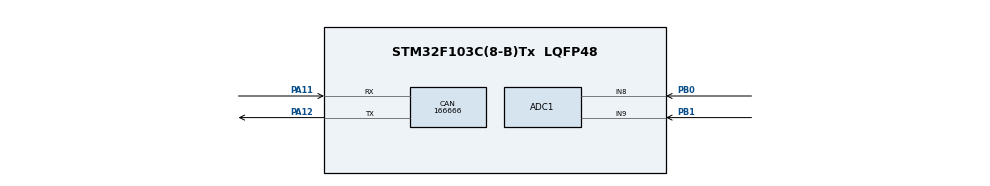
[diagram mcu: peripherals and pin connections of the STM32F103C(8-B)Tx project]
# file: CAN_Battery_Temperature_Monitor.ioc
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ADC1.Channel-0\#ChannelRegularConversion=ADC_CHANNEL_8
ADC1.NbrOfConversionFlag=1
ADC1.Rank-0\#ChannelRegularConversion=1
ADC1.SamplingTime-0\#ChannelRegularConversion=ADC_SAMPLETIME_1CYCLE_5
ADC1.master=1
ADC2.Channel-0\#ChannelRegularConversion=ADC_CHANNEL_9
ADC2.NbrOfConversionFlag=1
ADC2.Rank-0\#ChannelRegularConversion=1
ADC2.SamplingTime-0\#ChannelRegularConversion=ADC_SAMPLETIME_1CYCLE_5
CAN.CalculateBaudRate=166666
CAN.CalculateTimeBit=6000
CAN.CalculateTimeQuantum=2000.0
Mcu.Family=STM32F1
Mcu.Name=STM32F103C(8-B)Tx
Mcu.Package=LQFP48
NVIC.PriorityGroup=NVIC_PRIORITYGROUP_4
PA11.Mode=CAN_Activate
PA11.Signal=CAN_RX
PA12.Mode=CAN_Activate
PA12.Signal=CAN_TX
PB0.Signal=ADCx_IN8
PB1.Signal=ADCx_IN9
ProjectManager.HeapSize=0x200
ProjectManager.StackSize=0x400
ProjectManager.TargetToolchain=STM32CubeIDE
RCC.APB1Freq_Value=8000000
RCC.APB2Freq_Value=8000000
SH.ADCx_IN8.0=ADC1_IN8,IN8
SH.ADCx_IN9.0=ADC1_IN9,IN9
SH.ADCx_IN9.1=ADC2_IN9,IN9
VP_SYS_VS_ND.Mode=No_Debug
board=custom

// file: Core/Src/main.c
/* USER CODE BEGIN Header */
/**
  ******************************************************************************
  * @file           : main.c
  * @brief          : Main program body
  ******************************************************************************
  * @attention
  *
  * Copyright (c) 2026 STMicroelectronics.
  * All rights reserved.
  *
  * This software is licensed under terms that can be found in the LICENSE file
  * in the root directory of this software component.
  * If no LICENSE file comes with this software, it is provided AS-IS.
  *
  ******************************************************************************
  */
/* USER CODE END Header */
#include "main.h"

/* USER CODE BEGIN Includes */
#include <math.h>
/* USER CODE END Includes */

ADC_HandleTypeDef hadc1;
ADC_HandleTypeDef hadc2;

CAN_HandleTypeDef hcan;

/* USER CODE BEGIN PV */
uint32_t adc_value = 0;
float voltage = 0;
CAN_TxHeaderTypeDef TxHeader;
uint8_t TxData[8];
uint32_t TxMailbox;
float resistance = 0;
float temperature_c = 0;

uint32_t adc_temp = 0;
float temp_voltage = 0;
/* USER CODE END PV */

void SystemClock_Config(void);
static void MX_GPIO_Init(void);
static void MX_ADC1_Init(void);
static void MX_CAN_Init(void);
static void MX_ADC2_Init(void);

int main(void)
{

  /* MCU Configuration--------------------------------------------------------*/

  /* Reset of all peripherals, Initializes the Flash interface and the Systick. */
  HAL_Init();

  /* Configure the system clock */
  SystemClock_Config();

  /* Initialize all configured peripherals */
  MX_GPIO_Init();
  MX_ADC1_Init();
  MX_CAN_Init();
  MX_ADC2_Init();
  /* USER CODE BEGIN 2 */
  HAL_CAN_Start(&hcan);

  TxHeader.StdId = 0x100;
  TxHeader.IDE = CAN_ID_STD;
  TxHeader.RTR = CAN_RTR_DATA;
  TxHeader.DLC = 4;
  /* USER CODE END 2 */

  /* Infinite loop */
  while (1)
  {

    /* USER CODE BEGIN 3 */
	  HAL_ADC_Start(&hadc1);

	  HAL_ADC_PollForConversion(&hadc1,100);

	  adc_value = HAL_ADC_GetValue(&hadc1);

	  voltage = (adc_value * 3.3f) / 4095.0f;

	  HAL_ADC_Start(&hadc2);

	  HAL_ADC_PollForConversion(&hadc2,100);

	  adc_temp = HAL_ADC_GetValue(&hadc2);

	  temp_voltage = (adc_temp * 3.3f) / 4095.0f;
	  resistance = 10000.0f * temp_voltage / (3.3f - temp_voltage);
	  temperature_c =
	      (1.0f /
	      ((1.0f / 298.15f) +
	      (1.0f / 3950.0f) *
	      log(resistance / 10000.0f)))
	      - 273.15f;
	  uint16_t voltage_mV = (uint16_t)(voltage * 1000);

	  uint16_t temp_x10 = (uint16_t)(temperature_c * 10);

	  TxData[0] = voltage_mV & 0xFF;
	  TxData[1] = (voltage_mV >> 8) & 0xFF;

	  TxData[2] = temp_x10 & 0xFF;
	  TxData[3] = (temp_x10 >> 8) & 0xFF;

	  HAL_CAN_AddTxMessage(&hcan,
	                       &TxHeader,
	                       TxData,
	                       &TxMailbox);
	  HAL_Delay(100);
  }
  /* USER CODE END 3 */
}

void SystemClock_Config(void)
{
  RCC_OscInitTypeDef RCC_OscInitStruct = {0};
  RCC_ClkInitTypeDef RCC_ClkInitStruct = {0};
  RCC_PeriphCLKInitTypeDef PeriphClkInit = {0};

  /** Initializes the RCC Oscillators according to the specified parameters
  * in the RCC_OscInitTypeDef structure.
  */
  RCC_OscInitStruct.OscillatorType = RCC_OSCILLATORTYPE_HSI;
  RCC_OscInitStruct.HSIState = RCC_HSI_ON;
  RCC_OscInitStruct.HSICalibrationValue = RCC_HSICALIBRATION_DEFAULT;
  RCC_OscInitStruct.PLL.PLLState = RCC_PLL_NONE;
  if (HAL_RCC_OscConfig(&RCC_OscInitStruct) != HAL_OK)
  {
    Error_Handler();
  }

  /** Initializes the CPU, AHB and APB buses clocks
  */
  RCC_ClkInitStruct.ClockType = RCC_CLOCKTYPE_HCLK|RCC_CLOCKTYPE_SYSCLK
                              |RCC_CLOCKTYPE_PCLK1|RCC_CLOCKTYPE_PCLK2;
  RCC_ClkInitStruct.SYSCLKSource = RCC_SYSCLKSOURCE_HSI;
  RCC_ClkInitStruct.AHBCLKDivider = RCC_SYSCLK_DIV1;
  RCC_ClkInitStruct.APB1CLKDivider = RCC_HCLK_DIV1;
  RCC_ClkInitStruct.APB2CLKDivider = RCC_HCLK_DIV1;

  if (HAL_RCC_ClockConfig(&RCC_ClkInitStruct, FLASH_LATENCY_0) != HAL_OK)
  {
    Error_Handler();
  }
  PeriphClkInit.PeriphClockSelection = RCC_PERIPHCLK_ADC;
  PeriphClkInit.AdcClockSelection = RCC_ADCPCLK2_DIV2;
  if (HAL_RCCEx_PeriphCLKConfig(&PeriphClkInit) != HAL_OK)
  {
    Error_Handler();
  }
}

static void MX_ADC1_Init(void)
{

  ADC_ChannelConfTypeDef sConfig = {0};

  /** Common config
  */
  hadc1.Instance = ADC1;
  hadc1.Init.ScanConvMode = ADC_SCAN_DISABLE;
  hadc1.Init.ContinuousConvMode = DISABLE;
  hadc1.Init.DiscontinuousConvMode = DISABLE;
  hadc1.Init.ExternalTrigConv = ADC_SOFTWARE_START;
  hadc1.Init.DataAlign = ADC_DATAALIGN_RIGHT;
  hadc1.Init.NbrOfConversion = 1;
  if (HAL_ADC_Init(&hadc1) != HAL_OK)
  {
    Error_Handler();
  }

  /** Configure Regular Channel
  */
  sConfig.Channel = ADC_CHANNEL_8;
  sConfig.Rank = ADC_REGULAR_RANK_1;
  sConfig.SamplingTime = ADC_SAMPLETIME_1CYCLE_5;
  if (HAL_ADC_ConfigChannel(&hadc1, &sConfig) != HAL_OK)
  {
    Error_Handler();
  }

}

static void MX_ADC2_Init(void)
{

  ADC_ChannelConfTypeDef sConfig = {0};

  /** Common config
  */
  hadc2.Instance = ADC2;
  hadc2.Init.ScanConvMode = ADC_SCAN_DISABLE;
  hadc2.Init.ContinuousConvMode = DISABLE;
  hadc2.Init.DiscontinuousConvMode = DISABLE;
  hadc2.Init.ExternalTrigConv = ADC_SOFTWARE_START;
  hadc2.Init.DataAlign = ADC_DATAALIGN_RIGHT;
  hadc2.Init.NbrOfConversion = 1;
  if (HAL_ADC_Init(&hadc2) != HAL_OK)
  {
    Error_Handler();
  }

  /** Configure Regular Channel
  */
  sConfig.Channel = ADC_CHANNEL_9;
  sConfig.Rank = ADC_REGULAR_RANK_1;
  sConfig.SamplingTime = ADC_SAMPLETIME_1CYCLE_5;
  if (HAL_ADC_ConfigChannel(&hadc2, &sConfig) != HAL_OK)
  {
    Error_Handler();
  }

}

static void MX_CAN_Init(void)
{

  hcan.Instance = CAN1;
  hcan.Init.Prescaler = 16;
  hcan.Init.Mode = CAN_MODE_NORMAL;
  hcan.Init.SyncJumpWidth = CAN_SJW_1TQ;
  hcan.Init.TimeSeg1 = CAN_BS1_1TQ;
  hcan.Init.TimeSeg2 = CAN_BS2_1TQ;
  hcan.Init.TimeTriggeredMode = DISABLE;
  hcan.Init.AutoBusOff = DISABLE;
  hcan.Init.AutoWakeUp = DISABLE;
  hcan.Init.AutoRetransmission = DISABLE;
  hcan.Init.ReceiveFifoLocked = DISABLE;
  hcan.Init.TransmitFifoPriority = DISABLE;
  if (HAL_CAN_Init(&hcan) != HAL_OK)
  {
    Error_Handler();
  }

}

static void MX_GPIO_Init(void)
{

  /* GPIO Ports Clock Enable */
  __HAL_RCC_GPIOB_CLK_ENABLE();
  __HAL_RCC_GPIOA_CLK_ENABLE();

}

void Error_Handler(void)
{
  __disable_irq();
  while (1)
  {
  }
}
